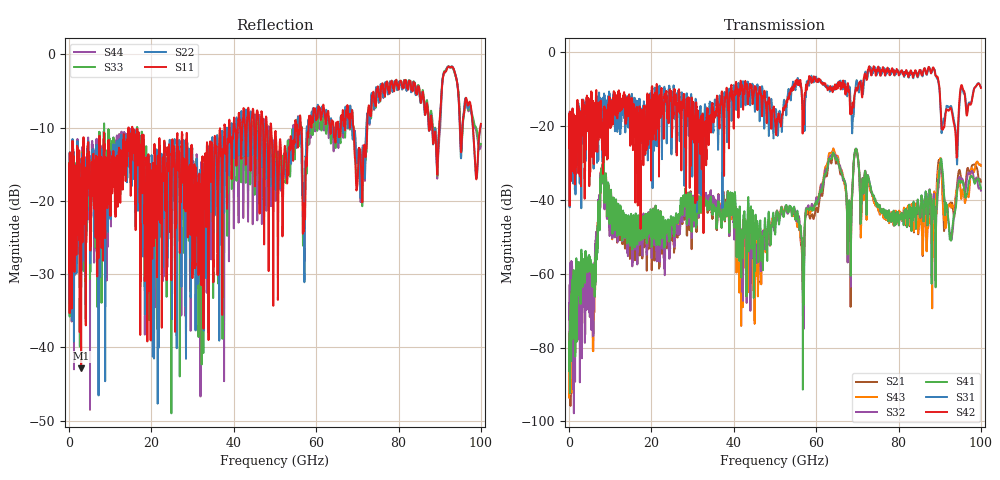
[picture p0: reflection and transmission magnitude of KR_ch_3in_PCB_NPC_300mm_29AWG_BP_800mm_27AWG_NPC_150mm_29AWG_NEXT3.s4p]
# GHz S RI R 45
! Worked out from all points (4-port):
!   4000 points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, 25 MHz to 100 GHz, reference 45 ohm
!   strongest paths, dB at 25 MHz, 25.02 GHz, 50.02 GHz, 75.03 GHz, 100 GHz:
!     S42: -21.2, -20.7, -18.6, -4.1, -9.8
!     S31: -21.2, -12.7, -15.8, -5.0, -9.6
!     S41: -86.3, -46.1, -49.4, -41.4, -37.0
!     S32: -85.6, -48.2, -47.3, -41.4, -37.5
!     S43: -89.3, -48.2, -46.3, -42.3, -30.8
!     S21: -93.5, -50.7, -47.2, -42.2, -35.2
!   lowest |S11| = -42.9 dB at 2.95 GHz (marker M1), VSWR 1.01, Z = 45.6 - j0.1 ohm
!   |S11| at or under -10 dB: start of sweep to 14.45 GHz; 15.35 GHz to 37.72 GHz (22.36 GHz wide, 84.3 % of centre); 49.09 GHz to 54.88 GHz (5.797 GHz wide, 11.2 % of centre) (the widest 3 of 31)
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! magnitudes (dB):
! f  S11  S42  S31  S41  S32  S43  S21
! 25 MHz  -16.5  -21.2  -21.2  -86.3  -85.6  -89.3  -93.5
! 2.95 GHz  -42.9  -17.0  -20.1  -63.4  -61.6  -67.6  -65.9
! 5.85 GHz  -14.4  -13.3  -15.4  -59.9  -67.9  -70.9  -73.6
! 8.075 GHz  -16.5  -20.2  -20.6  -35.3  -35.4  -35.3  -35.6
! 56.67 GHz  -17.3  -19.7  -13.6  -56.7  -56.3  -60.7  -59.3
! 63.88 GHz  -9.3  -10.0  -9.5  -28.3  -28.3  -27.3  -29.0
! 100 GHz  -9.5  -9.8  -9.6  -37.0  -37.5  -30.8  -35.2
